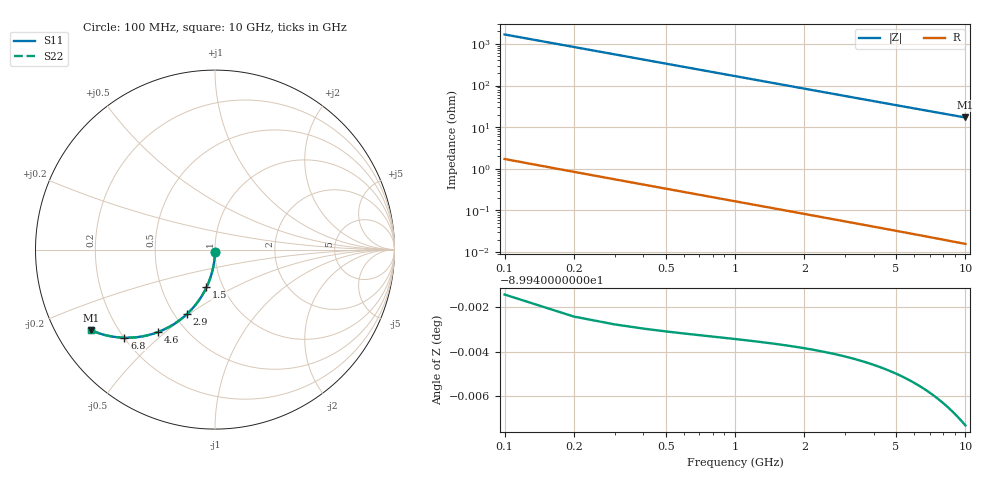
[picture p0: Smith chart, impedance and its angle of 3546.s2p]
# Hz S RI R 50.00
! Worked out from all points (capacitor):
!   100 points, 100 MHz to 10 GHz, reference 50 ohm
!   read as one part in shunt: C = 945 fF near 100 MHz
!   lowest |Z| = 17.1 ohm at 10 GHz (marker M1)
!   S11 on the Smith chart (normalised r, x): 100 MHz: 1.00, -0.03; 1.5 GHz: 0.84, -0.37; 2.9 GHz: 0.58, -0.49; 4.6 GHz: 0.35, -0.47; 6.8 GHz: 0.20, -0.39; 10 GHz: 0.11, -0.29
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1e8  -0.000185 -0.0147  0.9997 -0.015  0.9997 -0.015  -0.000185 -0.0147
2e8  -0.00086 -0.0294  0.999 -0.0299  0.999 -0.0299  -0.00086 -0.0294
3e8  -0.00197 -0.0441  0.9979 -0.0448  0.9979 -0.0448  -0.00197 -0.0441
4e8  -0.00352 -0.0587  0.9964 -0.0597  0.9964 -0.0597  -0.00352 -0.0587
5e8  -0.0055 -0.0732  0.9944 -0.0744  0.9944 -0.0744  -0.0055 -0.0732
6e8  -0.0079 -0.0876  0.992 -0.0891  0.992 -0.0891  -0.0079 -0.0876
7e8  -0.0107 -0.1019  0.9892 -0.1036  0.9892 -0.1036  -0.0107 -0.1019
9e8  -0.0176 -0.1301  0.9823 -0.1323  0.9823 -0.1323  -0.0176 -0.1301
1.2e9  -0.0309 -0.1711  0.969 -0.1741  0.969 -0.1741  -0.0309 -0.1711
1.5e9  -0.0474 -0.2102  0.9525 -0.2139  0.9525 -0.2139  -0.0474 -0.2102
1.8e9  -0.0668 -0.247  0.9331 -0.2515  0.9331 -0.2515  -0.0668 -0.247
2.3e9  -0.1046 -0.3027  0.8953 -0.3084  0.8953 -0.3084  -0.1046 -0.3027
2.9e9  -0.1565 -0.3593  0.8433 -0.3665  0.8433 -0.3665  -0.1565 -0.3593
3.4e9  -0.2032 -0.3977  0.7967 -0.4062  0.7967 -0.4062  -0.2032 -0.3977
4e9  -0.2608 -0.4336  0.739 -0.4437  0.739 -0.4437  -0.2608 -0.4336
4.6e9  -0.3182 -0.4595  0.6816 -0.4711  0.6816 -0.4711  -0.3182 -0.4595
5.1e9  -0.3645 -0.4744  0.6353 -0.4872  0.6353 -0.4872  -0.3645 -0.4744
5.9e9  -0.4344 -0.4878  0.5654 -0.5026  0.5654 -0.5026  -0.4344 -0.4878
6.7e9  -0.4976 -0.491  0.5021 -0.5079  0.5021 -0.5079  -0.4976 -0.491
6.8e9  -0.5051 -0.4909  0.4947 -0.5081  0.4947 -0.5081  -0.5051 -0.4909
8.4e9  -0.6092 -0.4767  0.3904 -0.498  0.3904 -0.498  -0.6092 -0.4767
1e10  -0.6888 -0.4496  0.3107 -0.4751  0.3107 -0.4751  -0.6888 -0.4496
